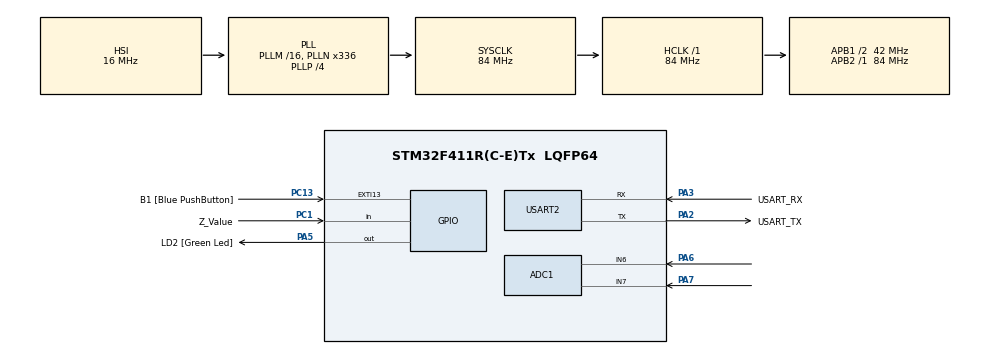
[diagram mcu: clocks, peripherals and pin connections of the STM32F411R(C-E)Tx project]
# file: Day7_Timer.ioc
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ADC1.Channel-0\#ChannelRegularConversion=ADC_CHANNEL_6
ADC1.Channel-1\#ChannelRegularConversion=ADC_CHANNEL_7
ADC1.NbrOfConversion=2
ADC1.NbrOfConversionFlag=1
ADC1.Rank-0\#ChannelRegularConversion=1
ADC1.Rank-1\#ChannelRegularConversion=2
ADC1.SamplingTime-0\#ChannelRegularConversion=ADC_SAMPLETIME_84CYCLES
ADC1.SamplingTime-1\#ChannelRegularConversion=ADC_SAMPLETIME_84CYCLES
ADC1.ScanConvMode=ENABLE
ADC1.master=1
Mcu.Family=STM32F4
Mcu.Name=STM32F411R(C-E)Tx
Mcu.Package=LQFP64
NVIC.PriorityGroup=NVIC_PRIORITYGROUP_0
NVIC.TIM4_IRQn=true\:0\:0\:false\:false\:true\:true\:true\:true
PA13.GPIO_Label=TMS
PA13.Mode=Serial_Wire
PA13.Signal=SYS_JTMS-SWDIO
PA14.GPIO_Label=TCK
PA14.Mode=Serial_Wire
PA14.Signal=SYS_JTCK-SWCLK
PA2.GPIO_Label=USART_TX
PA2.Mode=Asynchronous
PA2.Signal=USART2_TX
PA3.GPIO_Label=USART_RX
PA3.Mode=Asynchronous
PA3.Signal=USART2_RX
PA5.GPIO_Label=LD2 [Green Led]
PA5.Signal=GPIO_Output
PA6.Signal=ADCx_IN6
PA7.Signal=ADCx_IN7
PB3.GPIO_Label=SWO
PB3.Signal=SYS_JTDO-SWO
PC1.GPIO_Label=Z_Value
PC1.Signal=GPIO_Input
PC13-ANTI_TAMP.GPIO_Label=B1 [Blue PushButton]
PC13-ANTI_TAMP.GPIO_ModeDefaultEXTI=GPIO_MODE_IT_FALLING
PC13-ANTI_TAMP.Signal=GPXTI13
PC14-OSC32_IN.Mode=LSE-External-Oscillator
PC14-OSC32_IN.Signal=RCC_OSC32_IN
PC15-OSC32_OUT.Mode=LSE-External-Oscillator
PC15-OSC32_OUT.Signal=RCC_OSC32_OUT
PH0\ -\ OSC_IN.Mode=HSE-External-Clock-Source
PH0\ -\ OSC_IN.Signal=RCC_OSC_IN
PH1\ -\ OSC_OUT.Mode=HSE-External-Clock-Source
PH1\ -\ OSC_OUT.Signal=RCC_OSC_OUT
ProjectManager.HeapSize=0x200
ProjectManager.StackSize=0x400
ProjectManager.TargetToolchain=STM32CubeIDE
RCC.48MHZClocksFreq_Value=84000000
RCC.AHBFreq_Value=84000000
RCC.APB1CLKDivider=RCC_HCLK_DIV2
RCC.APB1Freq_Value=42000000
RCC.APB1TimFreq_Value=84000000
RCC.APB2Freq_Value=84000000
RCC.APB2TimFreq_Value=84000000
RCC.CortexFreq_Value=84000000
RCC.FLatency-AdvancedSettings=FLASH_LATENCY_2
RCC.HCLKFreq_Value=84000000
RCC.HSE_VALUE=8000000
RCC.HSI_VALUE=16000000
RCC.PLLN=336
RCC.PLLP=RCC_PLLP_DIV4
RCC.SYSCLKFreq_VALUE=84000000
RCC.SYSCLKSource=RCC_SYSCLKSOURCE_PLLCLK
RCC.VCOOutputFreq_Value=336000000
SH.ADCx_IN6.0=ADC1_IN6,IN6
SH.ADCx_IN7.0=ADC1_IN7,IN7
TIM4.Period=10000-1
TIM4.Prescaler=8400-1
USART2.VirtualMode=VM_ASYNC
VP_TIM4_VS_ClockSourceINT.Mode=Internal
board=NUCLEO-F411RE

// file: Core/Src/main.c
/* USER CODE BEGIN Header */
/**
  ******************************************************************************
  * @file           : main.c
  * @brief          : Main program body
  ******************************************************************************
  * @attention
  *
  * Copyright (c) 2023 STMicroelectronics.
  * All rights reserved.
  *
  * This software is licensed under terms that can be found in the LICENSE file
  * in the root directory of this software component.
  * If no LICENSE file comes with this software, it is provided AS-IS.
  *
  ******************************************************************************
  */
/* USER CODE END Header */
#include "main.h"

ADC_HandleTypeDef hadc1;

TIM_HandleTypeDef htim4;

UART_HandleTypeDef huart2;

/* USER CODE BEGIN PV */
int xVal, yVal, zVal;
int cnt;
int dir = 0; //1:F , 2:FL 3:L 4:BL 5:B 6:BR 7:R 8:FR
char *dirs[] = {"F", "FL", "L", "BL", "B" , "BR", "R", "FR"};

/* USER CODE END PV */

void SystemClock_Config(void);
static void MX_GPIO_Init(void);
static void MX_USART2_UART_Init(void);
static void MX_ADC1_Init(void);
static void MX_TIM4_Init(void);

/* USER CODE BEGIN 0 */
int __io_putchar(int ch)
{
	HAL_UART_Transmit(&huart2, &ch, 1, 100);
	return ch;
}

void GetDirection()
{
         if(xVal > 3000)
         {
            if(yVal > 3000) dir = 6; //BR = 6
            else if(yVal >1000) dir = 7; // R = 7
            else dir =8;
         }
         else if(xVal < 1000)
         {
            if(yVal > 3000) dir = 4; //BL = 4
            else if(yVal >1000) dir = 3; // L =3
            else dir = 2;
         }
         else
         {
            if(yVal > 3000) dir = 5; //B:5
            else dir = 1;          //f:1
         }

}

void Joystick()
{
	   if(cnt == 0)
	   {
	      xVal = HAL_ADC_GetValue(&hadc1);
	   }
	   if(cnt == 1)
	   {
	      yVal = HAL_ADC_GetValue(&hadc1);
	   }
	   if(++cnt > 1)
	   {

		  zVal = HAL_GPIO_ReadPin(Z_Value_GPIO_Port, Z_Value_Pin);

	      GetDirection();

	       printf("\r x:%d  y:%d  z:%d Direction : %s  \r", xVal, yVal, zVal, dirs[dir]);
	      cnt = 0;//once in Interrupt Service Routine
	   }

	    HAL_ADC_Start_IT(&hadc1);
}

void HAL_ADC_ConvCPpltCallback(ADC_HandleTypeDef* hadc) //ADC interrupt callback funtion
{

}

void HAL_TIM_PeriodElapsedCallback(TIM_HandleTypeDef *htim)
{
	if(htim->Instance == TIM4)
		Joystick();
}
/* USER CODE END 0 */

int main(void)
{

  /* MCU Configuration--------------------------------------------------------*/

  /* Reset of all peripherals, Initializes the Flash interface and the Systick. */
  HAL_Init();

  /* Configure the system clock */
  SystemClock_Config();

  /* Initialize all configured peripherals */
  MX_GPIO_Init();
  MX_USART2_UART_Init();
  MX_ADC1_Init();
  MX_TIM4_Init();
  /* USER CODE BEGIN 2 */
  HAL_ADC_Start_IT(&hadc1);
  HAL_TIM_Base_Start_IT(&htim4);
  printf("Program Start!\r\n");
  /* USER CODE END 2 */

  /* Infinite loop */
  while (1)
  {

  }
}

void SystemClock_Config(void)
{
  RCC_OscInitTypeDef RCC_OscInitStruct = {0};
  RCC_ClkInitTypeDef RCC_ClkInitStruct = {0};

  /** Configure the main internal regulator output voltage
  */
  __HAL_RCC_PWR_CLK_ENABLE();
  __HAL_PWR_VOLTAGESCALING_CONFIG(PWR_REGULATOR_VOLTAGE_SCALE1);

  /** Initializes the RCC Oscillators according to the specified parameters
  * in the RCC_OscInitTypeDef structure.
  */
  RCC_OscInitStruct.OscillatorType = RCC_OSCILLATORTYPE_HSI;
  RCC_OscInitStruct.HSIState = RCC_HSI_ON;
  RCC_OscInitStruct.HSICalibrationValue = RCC_HSICALIBRATION_DEFAULT;
  RCC_OscInitStruct.PLL.PLLState = RCC_PLL_ON;
  RCC_OscInitStruct.PLL.PLLSource = RCC_PLLSOURCE_HSI;
  RCC_OscInitStruct.PLL.PLLM = 16;
  RCC_OscInitStruct.PLL.PLLN = 336;
  RCC_OscInitStruct.PLL.PLLP = RCC_PLLP_DIV4;
  RCC_OscInitStruct.PLL.PLLQ = 4;
  if (HAL_RCC_OscConfig(&RCC_OscInitStruct) != HAL_OK)
  {
    Error_Handler();
  }

  /** Initializes the CPU, AHB and APB buses clocks
  */
  RCC_ClkInitStruct.ClockType = RCC_CLOCKTYPE_HCLK|RCC_CLOCKTYPE_SYSCLK
                              |RCC_CLOCKTYPE_PCLK1|RCC_CLOCKTYPE_PCLK2;
  RCC_ClkInitStruct.SYSCLKSource = RCC_SYSCLKSOURCE_PLLCLK;
  RCC_ClkInitStruct.AHBCLKDivider = RCC_SYSCLK_DIV1;
  RCC_ClkInitStruct.APB1CLKDivider = RCC_HCLK_DIV2;
  RCC_ClkInitStruct.APB2CLKDivider = RCC_HCLK_DIV1;

  if (HAL_RCC_ClockConfig(&RCC_ClkInitStruct, FLASH_LATENCY_2) != HAL_OK)
  {
    Error_Handler();
  }
}

static void MX_ADC1_Init(void)
{

  ADC_ChannelConfTypeDef sConfig = {0};

  /** Configure the global features of the ADC (Clock, Resolution, Data Alignment and number of conversion)
  */
  hadc1.Instance = ADC1;
  hadc1.Init.ClockPrescaler = ADC_CLOCK_SYNC_PCLK_DIV4;
  hadc1.Init.Resolution = ADC_RESOLUTION_12B;
  hadc1.Init.ScanConvMode = ENABLE;
  hadc1.Init.ContinuousConvMode = DISABLE;
  hadc1.Init.DiscontinuousConvMode = DISABLE;
  hadc1.Init.ExternalTrigConvEdge = ADC_EXTERNALTRIGCONVEDGE_NONE;
  hadc1.Init.ExternalTrigConv = ADC_SOFTWARE_START;
  hadc1.Init.DataAlign = ADC_DATAALIGN_RIGHT;
  hadc1.Init.NbrOfConversion = 2;
  hadc1.Init.DMAContinuousRequests = DISABLE;
  hadc1.Init.EOCSelection = ADC_EOC_SINGLE_CONV;
  if (HAL_ADC_Init(&hadc1) != HAL_OK)
  {
    Error_Handler();
  }

  /** Configure for the selected ADC regular channel its corresponding rank in the sequencer and its sample time.
  */
  sConfig.Channel = ADC_CHANNEL_6;
  sConfig.Rank = 1;
  sConfig.SamplingTime = ADC_SAMPLETIME_84CYCLES;
  if (HAL_ADC_ConfigChannel(&hadc1, &sConfig) != HAL_OK)
  {
    Error_Handler();
  }

  /** Configure for the selected ADC regular channel its corresponding rank in the sequencer and its sample time.
  */
  sConfig.Channel = ADC_CHANNEL_7;
  sConfig.Rank = 2;
  if (HAL_ADC_ConfigChannel(&hadc1, &sConfig) != HAL_OK)
  {
    Error_Handler();
  }

}

static void MX_TIM4_Init(void)
{

  TIM_ClockConfigTypeDef sClockSourceConfig = {0};
  TIM_MasterConfigTypeDef sMasterConfig = {0};

  htim4.Instance = TIM4;
  htim4.Init.Prescaler = 8400-1;
  htim4.Init.CounterMode = TIM_COUNTERMODE_UP;
  htim4.Init.Period = 10000-1;
  htim4.Init.ClockDivision = TIM_CLOCKDIVISION_DIV1;
  htim4.Init.AutoReloadPreload = TIM_AUTORELOAD_PRELOAD_DISABLE;
  if (HAL_TIM_Base_Init(&htim4) != HAL_OK)
  {
    Error_Handler();
  }
  sClockSourceConfig.ClockSource = TIM_CLOCKSOURCE_INTERNAL;
  if (HAL_TIM_ConfigClockSource(&htim4, &sClockSourceConfig) != HAL_OK)
  {
    Error_Handler();
  }
  sMasterConfig.MasterOutputTrigger = TIM_TRGO_RESET;
  sMasterConfig.MasterSlaveMode = TIM_MASTERSLAVEMODE_DISABLE;
  if (HAL_TIMEx_MasterConfigSynchronization(&htim4, &sMasterConfig) != HAL_OK)
  {
    Error_Handler();
  }

}

static void MX_USART2_UART_Init(void)
{

  huart2.Instance = USART2;
  huart2.Init.BaudRate = 115200;
  huart2.Init.WordLength = UART_WORDLENGTH_8B;
  huart2.Init.StopBits = UART_STOPBITS_1;
  huart2.Init.Parity = UART_PARITY_NONE;
  huart2.Init.Mode = UART_MODE_TX_RX;
  huart2.Init.HwFlowCtl = UART_HWCONTROL_NONE;
  huart2.Init.OverSampling = UART_OVERSAMPLING_16;
  if (HAL_UART_Init(&huart2) != HAL_OK)
  {
    Error_Handler();
  }

}

static void MX_GPIO_Init(void)
{
  GPIO_InitTypeDef GPIO_InitStruct = {0};

  /* GPIO Ports Clock Enable */
  __HAL_RCC_GPIOC_CLK_ENABLE();
  __HAL_RCC_GPIOH_CLK_ENABLE();
  __HAL_RCC_GPIOA_CLK_ENABLE();
  __HAL_RCC_GPIOB_CLK_ENABLE();

  /*Configure GPIO pin Output Level */
  HAL_GPIO_WritePin(LD2_GPIO_Port, LD2_Pin, GPIO_PIN_RESET);

  /*Configure GPIO pin : B1_Pin */
  GPIO_InitStruct.Pin = B1_Pin;
  GPIO_InitStruct.Mode = GPIO_MODE_IT_FALLING;
  GPIO_InitStruct.Pull = GPIO_NOPULL;
  HAL_GPIO_Init(B1_GPIO_Port, &GPIO_InitStruct);

  /*Configure GPIO pin : Z_Value_Pin */
  GPIO_InitStruct.Pin = Z_Value_Pin;
  GPIO_InitStruct.Mode = GPIO_MODE_INPUT;
  GPIO_InitStruct.Pull = GPIO_NOPULL;
  HAL_GPIO_Init(Z_Value_GPIO_Port, &GPIO_InitStruct);

  /*Configure GPIO pin : LD2_Pin */
  GPIO_InitStruct.Pin = LD2_Pin;
  GPIO_InitStruct.Mode = GPIO_MODE_OUTPUT_PP;
  GPIO_InitStruct.Pull = GPIO_NOPULL;
  GPIO_InitStruct.Speed = GPIO_SPEED_FREQ_LOW;
  HAL_GPIO_Init(LD2_GPIO_Port, &GPIO_InitStruct);

}

void Error_Handler(void)
{
  __disable_irq();
  while (1)
  {
  }
}
